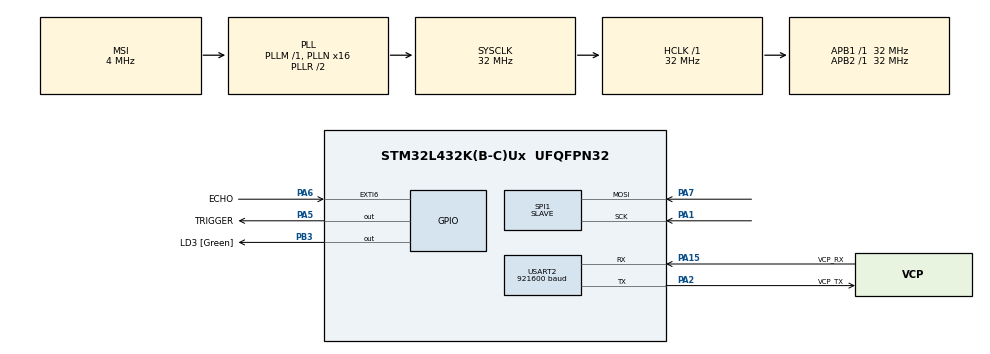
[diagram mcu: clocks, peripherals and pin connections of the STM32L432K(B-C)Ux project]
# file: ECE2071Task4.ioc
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Dma.Request0=USART2_TX
Dma.USART2_TX.0.Direction=DMA_MEMORY_TO_PERIPH
Dma.USART2_TX.0.Instance=DMA1_Channel7
Dma.USART2_TX.0.MemDataAlignment=DMA_MDATAALIGN_BYTE
Dma.USART2_TX.0.MemInc=DMA_MINC_ENABLE
Dma.USART2_TX.0.Mode=DMA_NORMAL
Dma.USART2_TX.0.PeriphDataAlignment=DMA_PDATAALIGN_BYTE
Dma.USART2_TX.0.PeriphInc=DMA_PINC_DISABLE
Dma.USART2_TX.0.Priority=DMA_PRIORITY_LOW
Mcu.Family=STM32L4
Mcu.Name=STM32L432K(B-C)Ux
Mcu.Package=UFQFPN32
NVIC.DMA1_Channel7_IRQn=true\:0\:0\:false\:false\:true\:false\:true\:true
NVIC.EXTI9_5_IRQn=true\:0\:0\:false\:false\:true\:true\:true\:true
NVIC.PriorityGroup=NVIC_PRIORITYGROUP_4
NVIC.USART2_IRQn=true\:0\:0\:false\:false\:true\:true\:true\:true
PA0.GPIO_Label=MCO [High speed clock in]
PA0.Mode=HSE-External-Clock-Source-for-LittleOrca
PA0.Signal=RCC_CK_IN
PA1.Mode=RX_Only_Simplex_Unidirect_Slave
PA1.Signal=SPI1_SCK
PA13\ (JTMS-SWDIO).GPIO_Label=SWDIO
PA13\ (JTMS-SWDIO).Mode=Serial_Wire
PA13\ (JTMS-SWDIO).Signal=SYS_JTMS-SWDIO
PA14\ (JTCK-SWCLK).GPIO_Label=SWCLK
PA14\ (JTCK-SWCLK).Mode=Serial_Wire
PA14\ (JTCK-SWCLK).Signal=SYS_JTCK-SWCLK
PA15\ (JTDI).GPIO_Label=VCP_RX
PA15\ (JTDI).Mode=Asynchronous
PA15\ (JTDI).Signal=USART2_RX
PA2.GPIO_Label=VCP_TX
PA2.Mode=Asynchronous
PA2.Signal=USART2_TX
PA5.GPIO_Label=TRIGGER
PA5.Signal=GPIO_Output
PA6.GPIO_Label=ECHO
PA6.GPIO_ModeDefaultEXTI=GPIO_MODE_IT_RISING_FALLING
PA6.Signal=GPXTI6
PA7.Mode=RX_Only_Simplex_Unidirect_Slave
PA7.Signal=SPI1_MOSI
PB3\ (JTDO-TRACESWO).GPIO_Label=LD3 [Green]
PB3\ (JTDO-TRACESWO).Signal=GPIO_Output
PC14-OSC32_IN\ (PC14).Mode=LSE-External-Oscillator
PC14-OSC32_IN\ (PC14).Signal=RCC_OSC32_IN
PC15-OSC32_OUT\ (PC15).Mode=LSE-External-Oscillator
PC15-OSC32_OUT\ (PC15).Signal=RCC_OSC32_OUT
ProjectManager.HeapSize=0x200
ProjectManager.StackSize=0x400
ProjectManager.TargetToolchain=STM32CubeIDE
RCC.AHBFreq_Value=32000000
RCC.APB1Freq_Value=32000000
RCC.APB1TimFreq_Value=32000000
RCC.APB2Freq_Value=32000000
RCC.APB2TimFreq_Value=32000000
RCC.CortexFreq_Value=32000000
RCC.HCLKFreq_Value=32000000
RCC.HSE_VALUE=8000000
RCC.HSI16_VALUE=16000000
RCC.HSI48_VALUE=48000000
RCC.HSI_VALUE=16000000
RCC.MSI_VALUE=4000000
RCC.PLLMUL=RCC_PLLMUL_4
RCC.PLLN=16
RCC.SYSCLKFreq_VALUE=32000000
RCC.SYSCLKSource=RCC_SYSCLKSOURCE_PLLCLK
RCC.VCOOutputFreq_Value=64000000
SPI1.DataSize=SPI_DATASIZE_16BIT
SPI1.Direction=SPI_DIRECTION_2LINES_RXONLY
SPI1.Mode=SPI_MODE_SLAVE
SPI1.VirtualType=VM_SLAVE
TIM16.Prescaler=31
USART2.BaudRate=921600
USART2.VirtualMode-Asynchronous=VM_ASYNC
VP_TIM16_VS_ClockSourceINT.Mode=Enable_Timer
board=NUCLEO-L432KC

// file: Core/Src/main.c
/* USER CODE BEGIN Header */
/**
  ******************************************************************************
  * @file           : main.c
  * @brief          : Main program body
  ******************************************************************************
  * @attention
  *
  * Copyright (c) 2026 STMicroelectronics.
  * All rights reserved.
  *
  * This software is licensed under terms that can be found in the LICENSE file
  * in the root directory of this software component.
  * If no LICENSE file comes with this software, it is provided AS-IS.
  *
  ******************************************************************************
  */
/* USER CODE END Header */
#include "main.h"

/* USER CODE BEGIN Includes */
#include <stdbool.h>
#include <stdlib.h>
/* USER CODE END Includes */

TIM_HandleTypeDef htim16;

UART_HandleTypeDef huart2;
DMA_HandleTypeDef hdma_usart2_tx;

void SystemClock_Config(void);
static void MX_GPIO_Init(void);
static void MX_DMA_Init(void);
static void MX_USART2_UART_Init(void);
static void MX_SPI1_Init(void);
static void MX_TIM16_Init(void);

/* USER CODE BEGIN 0 */
typedef enum {
	IDLE,
	STD,
	USTRG
} State;

// GPIO rising/falling edge callback -> note: keep this VERY simple

volatile static bool echoDuration = false;
volatile static bool echoReceived = false;
volatile static uint32_t echoTime = 1000;

void HAL_GPIO_EXTI_Callback(uint16_t GPIO_Pin)
{
	if(HAL_GPIO_ReadPin(ECHO_GPIO_Port, ECHO_Pin) == GPIO_PIN_SET)
	{
		__HAL_TIM_SET_COUNTER(&htim16, 0);
	}
	else
	{
		echoReceived = true;
		echoTime = __HAL_TIM_GET_COUNTER(&htim16);
		__HAL_TIM_SET_COUNTER(&htim16, 0);
	}
}

// uart2 callback -> note: keep this simple
uint8_t huartBuf[1];
volatile State state = IDLE;

void HAL_UART_RxCpltCallback(UART_HandleTypeDef *huart)
{
	if (huartBuf[0] == 0)
	{
		state = IDLE;
	}
	else if (huartBuf[0] == 1)
	{
		state = STD;
	}
	else if (huartBuf[0] == 2)
	{
		state = USTRG;
	}

	HAL_UART_Receive_IT(&huart2, huartBuf, 1);
}

#define FILTER_WIN_SIZE 4    // at 44kHz: ~11kHz cutoff — passes all audio, removes HF noise
#define OUTLIER_THRESHOLD 300

typedef struct {
	uint16_t buffer[FILTER_WIN_SIZE];
	uint32_t sum;
	uint8_t index;
} MovingAverage;

void MA_Init(MovingAverage *ma) {
	for (int i = 0; i < FILTER_WIN_SIZE; i++) ma->buffer[i] = 0;
	ma->sum = 0;
	ma->index = 0;
}

// Fill the filter window with the first real sample so output is correct from sample 1.
void MA_Prewarm(MovingAverage *ma, uint16_t seed) {
	for (int i = 0; i < FILTER_WIN_SIZE; i++) {
		ma->buffer[i] = seed;
	}
	ma->sum = (uint32_t)seed * FILTER_WIN_SIZE;
}

uint16_t MA_Update(MovingAverage *ma, uint16_t next) {
	uint16_t current_mean = (uint16_t)(ma->sum / FILTER_WIN_SIZE);
	if (abs((int)next - (int)current_mean) > OUTLIER_THRESHOLD) {
		next = current_mean;
	}
	ma->sum -= ma->buffer[ma->index];
	ma->buffer[ma->index] = next;
	ma->sum += next;
	ma->index = (ma->index + 1) % FILTER_WIN_SIZE;
	return (uint16_t)(ma->sum / FILTER_WIN_SIZE);
}

// Double-buffered UART DMA: while one buffer is being sent, the other is being filled.
#define UART_BUF_SIZE 64
static uint16_t uartBufA[UART_BUF_SIZE];
static uint16_t uartBufB[UART_BUF_SIZE];
volatile uint8_t dmaBusy = 0;

void HAL_UART_TxCpltCallback(UART_HandleTypeDef *huart)
{
	dmaBusy = 0;
}

static void uart_flush(uint16_t *buf, uint16_t count)
{
	// Wait only if the previous DMA is still running — this should be rare
	// because we fill one buffer while the other transmits.
	while (dmaBusy) {;}
	dmaBusy = 1;
	HAL_UART_Transmit_DMA(&huart2, (uint8_t*)buf, count * 2);
}

void std_processing(void)
{
	uint16_t sample;
	MovingAverage ma;
	MA_Init(&ma);

	// Discard any stale data / clear OVR before starting
	if (LL_SPI_IsActiveFlag_RXNE(SPI1)) LL_SPI_ReceiveData16(SPI1);
	LL_SPI_ClearFlag_OVR(SPI1);

	// Wait for first real sample and pre-warm the MA filter with it,
	// so the filter output is correct from the very first transmitted sample.
	while (!LL_SPI_IsActiveFlag_RXNE(SPI1) && state == STD) {;}
	if (state != STD) return;
	MA_Prewarm(&ma, LL_SPI_ReceiveData16(SPI1));

	uint16_t *fillBuf = uartBufA;
	uint16_t *sendBuf = uartBufB;
	uint16_t fillIdx = 0;

	while (state == STD)
	{
		// Also check state so a Python IDLE command can break us out
		while (!LL_SPI_IsActiveFlag_RXNE(SPI1) && state == STD) {;}
		if (state != STD) break;
		sample = LL_SPI_ReceiveData16(SPI1);

		fillBuf[fillIdx++] = (MA_Update(&ma, sample) << 4) | 0xA;

		if (fillIdx >= UART_BUF_SIZE) {
			// Swap buffers: send the full one, start filling the empty one
			uint16_t *tmp = sendBuf;
			sendBuf = fillBuf;
			fillBuf = tmp;
			fillIdx = 0;
			HAL_GPIO_TogglePin(LD3_GPIO_Port, LD3_Pin); // blinks at ~44100/64 = 689 Hz when working
			uart_flush(sendBuf, UART_BUF_SIZE);
		}
	}

	// Flush any remaining samples
	if (fillIdx > 0) {
		uart_flush(fillBuf, fillIdx);
	}
}

static void fire_trigger(void)
{
	HAL_GPIO_WritePin(TRIGGER_GPIO_Port, TRIGGER_Pin, GPIO_PIN_SET);
	// 10 µs pulse — TIM16 runs at 1 µs/tick
	uint16_t start = __HAL_TIM_GET_COUNTER(&htim16);
	while ((__HAL_TIM_GET_COUNTER(&htim16) - start) < 10) {;}
	HAL_GPIO_WritePin(TRIGGER_GPIO_Port, TRIGGER_Pin, GPIO_PIN_RESET);
}

void us_processing(void)
{
	uint16_t sample;
	MovingAverage ma;
	MA_Init(&ma);

	uint16_t *fillBuf = uartBufA;
	uint16_t *sendBuf = uartBufB;
	uint16_t fillIdx = 0;

	// Pre-warm MA with first real sample
	while (!LL_SPI_IsActiveFlag_RXNE(SPI1) && state == USTRG) {;}
	if (state != USTRG) return;
	MA_Prewarm(&ma, LL_SPI_ReceiveData16(SPI1));

	uint32_t distance = 1000;
	// Fire first trigger immediately
	fire_trigger();
	uint32_t lastTrigger = __HAL_TIM_GET_COUNTER(&htim16);

	// Grace period: keep recording for this many samples after object leaves
	uint16_t graceSamples = 0;
	const uint16_t GRACE_MAX = 2205; // ~50 ms at 44.1kHz

	while (state == USTRG)
	{
		while (!LL_SPI_IsActiveFlag_RXNE(SPI1) && state == USTRG) {;}
		if (state != USTRG) break;
		sample = LL_SPI_ReceiveData16(SPI1);

		// Only buffer samples while object is detected (or in grace period)
		if (distance <= 10 || graceSamples > 0)
		{
			if (distance > 10) {
				graceSamples--;
			} else {
				graceSamples = GRACE_MAX;
			}

			fillBuf[fillIdx++] = (MA_Update(&ma, sample) << 4) | 0xA;

			if (fillIdx >= UART_BUF_SIZE) {
				uint16_t *tmp = sendBuf;
				sendBuf = fillBuf;
				fillBuf = tmp;
				fillIdx = 0;
				uart_flush(sendBuf, UART_BUF_SIZE);
			}
		}

		// Fire ultrasonic trigger every ~60 ms (60000 µs)
		uint16_t now = __HAL_TIM_GET_COUNTER(&htim16);
		if ((uint16_t)(now - lastTrigger) >= 60000) {
			if (!echoDuration) {
				fire_trigger();
				echoDuration = true;
			}
			lastTrigger = now;
		}

		if (echoReceived)
		{
			echoReceived = false;
			echoDuration = false;
			distance = echoTime / 58;
		}
	}

	if (fillIdx > 0) {
		uart_flush(fillBuf, fillIdx);
	}
}

/* USER CODE END 0 */

int main(void)
{

  /* MCU Configuration--------------------------------------------------------*/

  /* Reset of all peripherals, Initializes the Flash interface and the Systick. */
  HAL_Init();

  /* Configure the system clock */
  SystemClock_Config();

  /* Initialize all configured peripherals */
  MX_GPIO_Init();
  MX_DMA_Init();
  MX_USART2_UART_Init();
  MX_SPI1_Init();
  MX_TIM16_Init();

  /* Infinite loop */
  /* USER CODE BEGIN WHILE */

  // init for us sensor
  LL_SPI_Enable(SPI1); // chatgpt!!
  HAL_Delay(250); // short pause to stop rail bouncing ig
  HAL_TIM_Base_Start(&htim16);

  // init uart callback
  HAL_UART_Receive_IT(&huart2, huartBuf, 1);

  // LL_SPI_Enable(SPI1); POTENTIALLY KEEP !!! ADD AFTER MX_SPI1_Init();
  while (1)
  {
	  // standby while idle
	  while (state == IDLE){
		  ;//HAL_GPIO_TogglePin(LD3_GPIO_Port, LD3_Pin);
	  }

	  if (state == STD)
	  {
		  std_processing();
	  }
	  else if (state == USTRG)
	  {
		  us_processing();
	  }

    /* USER CODE END WHILE */

  }
}

void SystemClock_Config(void)
{
  RCC_OscInitTypeDef RCC_OscInitStruct = {0};
  RCC_ClkInitTypeDef RCC_ClkInitStruct = {0};

  /** Configure the main internal regulator output voltage
  */
  if (HAL_PWREx_ControlVoltageScaling(PWR_REGULATOR_VOLTAGE_SCALE1) != HAL_OK)
  {
    Error_Handler();
  }

  /** Configure LSE Drive Capability
  */
  HAL_PWR_EnableBkUpAccess();
  __HAL_RCC_LSEDRIVE_CONFIG(RCC_LSEDRIVE_LOW);

  /** Initializes the RCC Oscillators according to the specified parameters
  * in the RCC_OscInitTypeDef structure.
  */
  RCC_OscInitStruct.OscillatorType = RCC_OSCILLATORTYPE_LSE|RCC_OSCILLATORTYPE_MSI;
  RCC_OscInitStruct.LSEState = RCC_LSE_ON;
  RCC_OscInitStruct.MSIState = RCC_MSI_ON;
  RCC_OscInitStruct.MSICalibrationValue = 0;
  RCC_OscInitStruct.MSIClockRange = RCC_MSIRANGE_6;
  RCC_OscInitStruct.PLL.PLLState = RCC_PLL_ON;
  RCC_OscInitStruct.PLL.PLLSource = RCC_PLLSOURCE_MSI;
  RCC_OscInitStruct.PLL.PLLM = 1;
  RCC_OscInitStruct.PLL.PLLN = 16;
  RCC_OscInitStruct.PLL.PLLP = RCC_PLLP_DIV7;
  RCC_OscInitStruct.PLL.PLLQ = RCC_PLLQ_DIV2;
  RCC_OscInitStruct.PLL.PLLR = RCC_PLLR_DIV2;
  if (HAL_RCC_OscConfig(&RCC_OscInitStruct) != HAL_OK)
  {
    Error_Handler();
  }

  /** Initializes the CPU, AHB and APB buses clocks
  */
  RCC_ClkInitStruct.ClockType = RCC_CLOCKTYPE_HCLK|RCC_CLOCKTYPE_SYSCLK
                              |RCC_CLOCKTYPE_PCLK1|RCC_CLOCKTYPE_PCLK2;
  RCC_ClkInitStruct.SYSCLKSource = RCC_SYSCLKSOURCE_PLLCLK;
  RCC_ClkInitStruct.AHBCLKDivider = RCC_SYSCLK_DIV1;
  RCC_ClkInitStruct.APB1CLKDivider = RCC_HCLK_DIV1;
  RCC_ClkInitStruct.APB2CLKDivider = RCC_HCLK_DIV1;

  if (HAL_RCC_ClockConfig(&RCC_ClkInitStruct, FLASH_LATENCY_1) != HAL_OK)
  {
    Error_Handler();
  }

  /** Enable MSI Auto calibration
  */
  HAL_RCCEx_EnableMSIPLLMode();
}

static void MX_SPI1_Init(void)
{

  LL_SPI_InitTypeDef SPI_InitStruct = {0};

  LL_GPIO_InitTypeDef GPIO_InitStruct = {0};

  /* Peripheral clock enable */
  LL_APB2_GRP1_EnableClock(LL_APB2_GRP1_PERIPH_SPI1);

  LL_AHB2_GRP1_EnableClock(LL_AHB2_GRP1_PERIPH_GPIOA);
  /**SPI1 GPIO Configuration
  PA1   ------> SPI1_SCK
  PA7   ------> SPI1_MOSI
  */
  GPIO_InitStruct.Pin = LL_GPIO_PIN_1|LL_GPIO_PIN_7;
  GPIO_InitStruct.Mode = LL_GPIO_MODE_ALTERNATE;
  GPIO_InitStruct.Speed = LL_GPIO_SPEED_FREQ_VERY_HIGH;
  GPIO_InitStruct.OutputType = LL_GPIO_OUTPUT_PUSHPULL;
  GPIO_InitStruct.Pull = LL_GPIO_PULL_NO;
  GPIO_InitStruct.Alternate = LL_GPIO_AF_5;
  LL_GPIO_Init(GPIOA, &GPIO_InitStruct);

  /* SPI1 parameter configuration*/
  SPI_InitStruct.TransferDirection = LL_SPI_SIMPLEX_RX;
  SPI_InitStruct.Mode = LL_SPI_MODE_SLAVE;
  SPI_InitStruct.DataWidth = LL_SPI_DATAWIDTH_16BIT;
  SPI_InitStruct.ClockPolarity = LL_SPI_POLARITY_LOW;
  SPI_InitStruct.ClockPhase = LL_SPI_PHASE_1EDGE;
  SPI_InitStruct.NSS = LL_SPI_NSS_SOFT;
  SPI_InitStruct.BitOrder = LL_SPI_MSB_FIRST;
  SPI_InitStruct.CRCCalculation = LL_SPI_CRCCALCULATION_DISABLE;
  SPI_InitStruct.CRCPoly = 7;
  LL_SPI_Init(SPI1, &SPI_InitStruct);
  LL_SPI_SetStandard(SPI1, LL_SPI_PROTOCOL_MOTOROLA);
  LL_SPI_DisableNSSPulseMgt(SPI1);

}

static void MX_TIM16_Init(void)
{

  htim16.Instance = TIM16;
  htim16.Init.Prescaler = 31;
  htim16.Init.CounterMode = TIM_COUNTERMODE_UP;
  htim16.Init.Period = 65535;
  htim16.Init.ClockDivision = TIM_CLOCKDIVISION_DIV1;
  htim16.Init.RepetitionCounter = 0;
  htim16.Init.AutoReloadPreload = TIM_AUTORELOAD_PRELOAD_DISABLE;
  if (HAL_TIM_Base_Init(&htim16) != HAL_OK)
  {
    Error_Handler();
  }

}

static void MX_USART2_UART_Init(void)
{

  huart2.Instance = USART2;
  huart2.Init.BaudRate = 921600;
  huart2.Init.WordLength = UART_WORDLENGTH_8B;
  huart2.Init.StopBits = UART_STOPBITS_1;
  huart2.Init.Parity = UART_PARITY_NONE;
  huart2.Init.Mode = UART_MODE_TX_RX;
  huart2.Init.HwFlowCtl = UART_HWCONTROL_NONE;
  huart2.Init.OverSampling = UART_OVERSAMPLING_16;
  huart2.Init.OneBitSampling = UART_ONE_BIT_SAMPLE_DISABLE;
  huart2.AdvancedInit.AdvFeatureInit = UART_ADVFEATURE_NO_INIT;
  if (HAL_UART_Init(&huart2) != HAL_OK)
  {
    Error_Handler();
  }

}

static void MX_DMA_Init(void)
{

  /* DMA controller clock enable */
  __HAL_RCC_DMA1_CLK_ENABLE();

  /* DMA interrupt init */
  /* DMA1_Channel7_IRQn interrupt configuration */
  HAL_NVIC_SetPriority(DMA1_Channel7_IRQn, 0, 0);
  HAL_NVIC_EnableIRQ(DMA1_Channel7_IRQn);

}

static void MX_GPIO_Init(void)
{
  GPIO_InitTypeDef GPIO_InitStruct = {0};

  /* GPIO Ports Clock Enable */
  __HAL_RCC_GPIOC_CLK_ENABLE();
  __HAL_RCC_GPIOA_CLK_ENABLE();
  __HAL_RCC_GPIOB_CLK_ENABLE();

  /*Configure GPIO pin Output Level */
  HAL_GPIO_WritePin(TRIGGER_GPIO_Port, TRIGGER_Pin, GPIO_PIN_RESET);

  /*Configure GPIO pin Output Level */
  HAL_GPIO_WritePin(LD3_GPIO_Port, LD3_Pin, GPIO_PIN_RESET);

  /*Configure GPIO pin : TRIGGER_Pin */
  GPIO_InitStruct.Pin = TRIGGER_Pin;
  GPIO_InitStruct.Mode = GPIO_MODE_OUTPUT_PP;
  GPIO_InitStruct.Pull = GPIO_NOPULL;
  GPIO_InitStruct.Speed = GPIO_SPEED_FREQ_LOW;
  HAL_GPIO_Init(TRIGGER_GPIO_Port, &GPIO_InitStruct);

  /*Configure GPIO pin : ECHO_Pin */
  GPIO_InitStruct.Pin = ECHO_Pin;
  GPIO_InitStruct.Mode = GPIO_MODE_IT_RISING_FALLING;
  GPIO_InitStruct.Pull = GPIO_NOPULL;
  HAL_GPIO_Init(ECHO_GPIO_Port, &GPIO_InitStruct);

  /*Configure GPIO pin : LD3_Pin */
  GPIO_InitStruct.Pin = LD3_Pin;
  GPIO_InitStruct.Mode = GPIO_MODE_OUTPUT_PP;
  GPIO_InitStruct.Pull = GPIO_NOPULL;
  GPIO_InitStruct.Speed = GPIO_SPEED_FREQ_LOW;
  HAL_GPIO_Init(LD3_GPIO_Port, &GPIO_InitStruct);

  /* EXTI interrupt init*/
  HAL_NVIC_SetPriority(EXTI9_5_IRQn, 0, 0);
  HAL_NVIC_EnableIRQ(EXTI9_5_IRQn);

}

void Error_Handler(void)
{
  __disable_irq();
  while (1)
  {
  }
}
